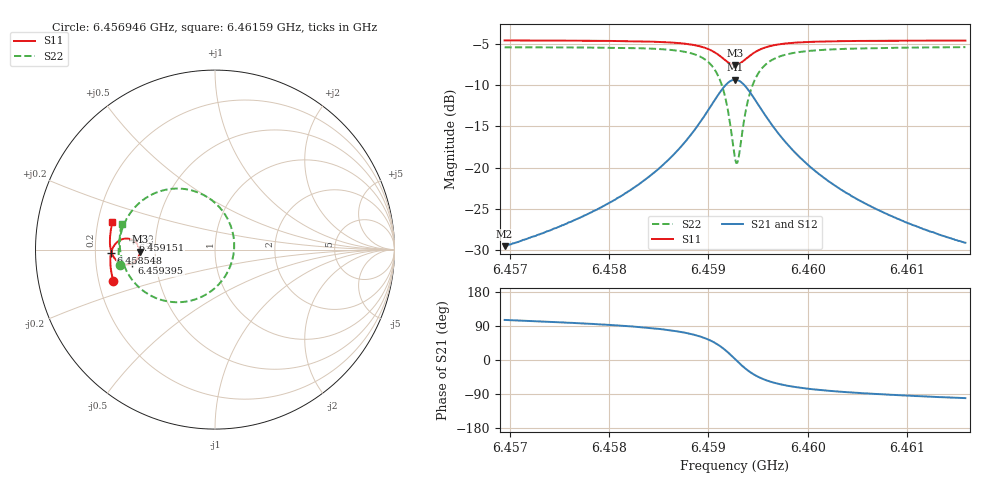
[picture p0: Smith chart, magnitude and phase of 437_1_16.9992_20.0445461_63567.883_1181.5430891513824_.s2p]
#  HZ  S  RI  R  50.00
! Rohde & Schwarz Vector Network Analyzer
! Rohde-Schwarz,ZNB20-2Port,1311601062101988,3.16
! Created: UTC 3/20/2024, 11:11:41 PM
! freq[Hz]  re:S11  im:S11  re:S21  im:S21  re:S12  im:S12  re:S22  im:S22
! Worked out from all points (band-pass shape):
!   401 points, 6.456946 GHz to 6.46159 GHz, reference 50 ohm
!   highest |S21| = -9.32 dB at 6.459268 GHz (marker M1); lowest = -29.6 dB at 6.456946 GHz (marker M2)
!   |S21| within 3 dB of the highest: 6.459036 GHz to 6.4595 GHz (464 kHz wide, 0.00718 % of centre)
!   lowest |S11| = -7.5 dB at 6.459268 GHz (marker M3), VSWR 2.45, Z = 20.4 - j0.528 ohm
!   |S11| at or under -10 dB: nowhere
!   |S22| runs from -19.4 to -5.4 dB; largest |S21 - S12| = 0.013
!   S11 on the Smith chart (normalised r, x): 6.456946 GHz: 0.26, -0.14; 6.458548 GHz: 0.27, -0.01; 6.459151 GHz: 0.37, +0.05; 6.459395 GHz: 0.37, -0.07; 6.46159 GHz: 0.26, +0.12
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6.4569456e9  -0.5659 -0.1745  -0.00903 0.032  -0.00732 0.032  -0.5306 -0.0876
6.4577234e9  -0.5804 -0.1067  -0.00574 0.0498  -0.00337 0.0493  -0.5367 0.00263
6.4581298e9  -0.5834 -0.0664  -0.000381 0.0678  0.00262 0.0665  -0.5298 0.0658
6.4585013e9  -0.5798 -0.0225  0.0136 0.0978  0.0176 0.0951  -0.5042 0.1475
6.4585478e9  -0.5785 -0.0162  0.0169 0.1032  0.0211 0.1002  -0.4979 0.1607
6.4587567e9  -0.5664 0.0155  0.0429 0.1345  0.0469 0.1299  -0.4496 0.2318
6.4589077e9  -0.5454 0.0418  0.085 0.1647  0.0884 0.1582  -0.3719 0.2959
6.4590586e9  -0.4997 0.0615  0.1761 0.1838  0.177 0.1764  -0.2054 0.3401
6.4591515e9  -0.4554 0.0515  0.2653 0.1531  0.2655 0.1472  -0.0404 0.291
6.4591979e9  -0.4344 0.033  0.3086 0.1108  0.3098 0.1054  0.042 0.2156
6.4592676e9  -0.4197 -0.0106  0.3419 0.0148  0.3453 0.00786  0.1068 0.0377
6.4592908e9  -0.4214 -0.0265  0.3397 -0.0202  0.3436 -0.0285  0.1028 -0.0286
6.4593024e9  -0.4236 -0.0341  0.3361 -0.0371  0.3399 -0.0463  0.0957 -0.0606
6.4593489e9  -0.4391 -0.0598  0.3079 -0.0966  0.3102 -0.1083  0.039 -0.1727
6.4593953e9  -0.4608 -0.076  0.2666 -0.1373  0.2657 -0.1504  -0.0449 -0.2472
6.4594882e9  -0.5038 -0.0827  0.1825 -0.1683  0.1765 -0.1798  -0.2119 -0.2933
6.4596391e9  -0.5472 -0.0621  0.0954 -0.1548  0.0872 -0.1611  -0.3781 -0.2447
6.4598016e9  -0.5685 -0.0346  0.051 -0.1272  0.0435 -0.13  -0.4579 -0.1734
6.4600455e9  -0.5811 0.000984  0.0223 -0.0961  0.0163 -0.0967  -0.5057 -0.0916
6.4603822e9  -0.5857 0.0409  0.00646 -0.0702  0.00252 -0.0699  -0.5267 -0.015
6.4608233e9  -0.5836 0.0852  -0.00131 -0.0512  -0.00424 -0.0505  -0.531 0.0552
6.4615896e9  -0.5711 0.1528  -0.00641 -0.0343  -0.00815 -0.0333  -0.5196 0.145
